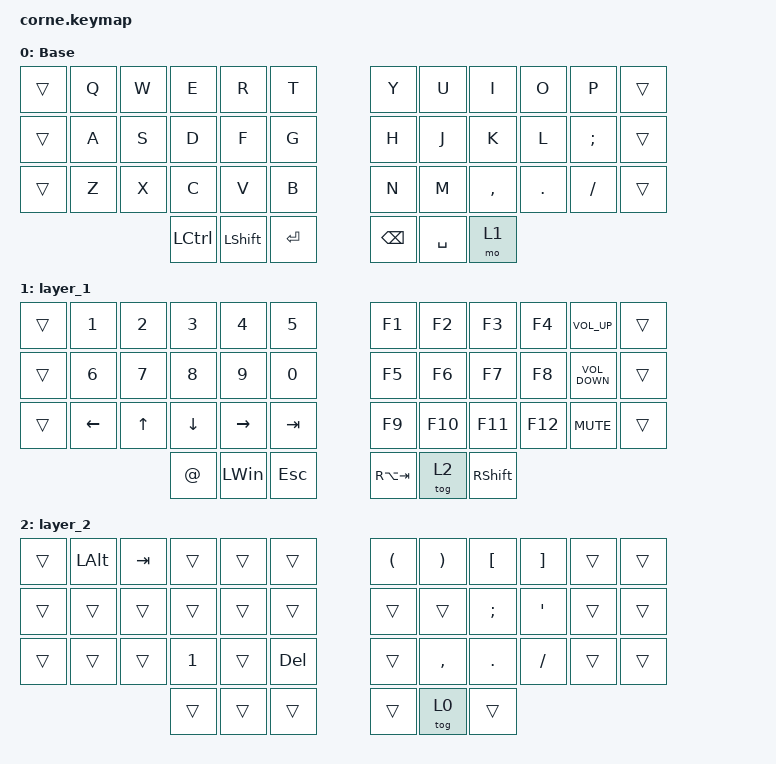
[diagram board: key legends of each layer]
/*
 * Copyright (c) 2020 The ZMK Contributors
 *
 * SPDX-License-Identifier: MIT
 */

#include <behaviors.dtsi>
#include <dt-bindings/zmk/keys.h>

/ {
    combos {
        compatible = "zmk,combos";

        altTab {
            bindings = <&kp RA(TAB)>;
            key-positions = <38>;
            layers = <2>;
        };
    };

    keymap {
        compatible = "zmk,keymap";

        Base {
            bindings = <
&trans  &kp Q  &kp W  &kp E      &kp R      &kp T        &kp Y          &kp U      &kp I      &kp O    &kp P     &trans
&trans  &kp A  &kp S  &kp D      &kp F      &kp G        &kp H          &kp J      &kp K      &kp L    &kp SEMI  &trans
&trans  &kp Z  &kp X  &kp C      &kp V      &kp B        &kp N          &kp M      &kp COMMA  &kp DOT  &kp FSLH  &trans
                      &kp LCTRL  &kp LSHFT  &kp ENTER    &kp BACKSPACE  &kp SPACE  &mo 1
            >;
        };

        layer_1 {
            bindings = <
&trans  &kp N1    &kp N2  &kp N3    &kp N4        &kp N5     &kp F1       &kp F2   &kp F3           &kp F4   &kp C_VOLUME_UP    &trans
&trans  &kp N6    &kp N7  &kp N8    &kp N9        &kp N0     &kp F5       &kp F6   &kp F7           &kp F8   &kp C_VOLUME_DOWN  &trans
&trans  &kp LEFT  &kp UP  &kp DOWN  &kp RIGHT     &kp TAB    &kp F9       &kp F10  &kp F11          &kp F12  &kp C_MUTE         &trans
                          &kp AT    &kp LEFT_WIN  &kp ESC    &kp RA(TAB)  &tog 2   &kp RIGHT_SHIFT
            >;
        };

        layer_2 {
            bindings = <
&trans  &kp LALT  &kp TAB  &trans        &trans  &trans     &kp LEFT_PARENTHESIS  &kp RIGHT_PARENTHESIS  &kp LBKT  &kp RBKT  &trans  &trans
&trans  &trans    &trans   &trans        &trans  &trans     &trans                &trans                 &kp SEMI  &kp APOS  &trans  &trans
&trans  &trans    &trans   &kp NUMBER_1  &trans  &kp DEL    &trans                &kp COMMA              &kp DOT   &kp FSLH  &trans  &trans
                           &trans        &trans  &trans     &trans                &tog 0                 &trans
            >;
        };
    };
};
